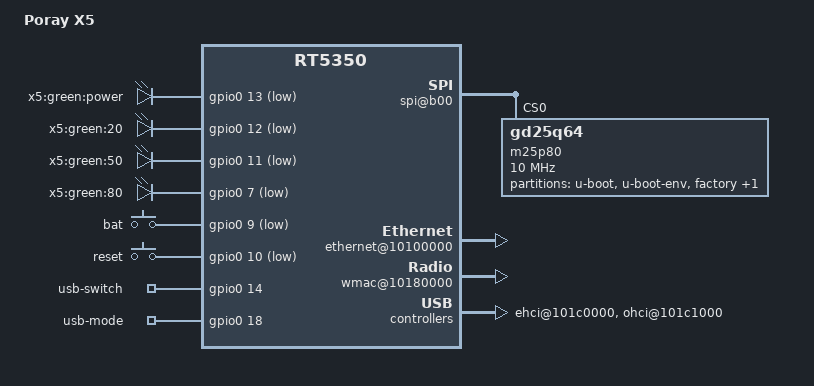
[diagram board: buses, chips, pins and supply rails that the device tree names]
//
// Device tree definition for Poray X5 and X6 routers.  
//
// This is free software, licensed under the GNU General Public License v2.
// See /LICENSE for more information.
//
// -- Luis Soltero <lsoltero@globalmarinenet.com>
// -- Michel Stempin <michel.stempin@wanadoo.fr> 
// -- Felix Kaechele <felix@fetzig.org>
//
//
// this files add support for the programmable switch on the side of the router labled 3G-DHCP
// 
//
// Notes on interfacing with the X5/X6 3G-DHCP switch
//
// there are two methods for interfacing with the 3G-DHCP/Switch. These are
// A. Button
// B. Polled
//
// To enable/disable the appropriate method search for COMMENT and comment/uncomppent the 
// appropriate definitions.  Note that both can not be enabled at the same time.  The switch
// can be defined as either a button or a exported GPIO but not both.
//
// A. Button Method
//
// the switch is defined as a button so events can be bound to it using hotplug.  The switch is bound to button BTN_0.
//
// GPIO /sys/class/gpio/usb-mode/value is used to map the X5 SD or USB port to the router.  When the ascii value '0' is
// writen to the gpio the router maps the internal TF/SD drive to the USB interface on the SoC.  When ascii value '1' is
// writen to the gpio the router maps the external USB port labled 3G-USB to the USB interfave on the SoC.
//
// To use the switch  you need to bind it to the BTN_0 button event in hotplug. Here is a /etc/config/system entry that will
// do that.
//
// config button
//        option button 'BTN_0'
//        option action 'released'
//        option handler 'echo 0 > /sys/class/gpio/usb-mode/value'
//
// config button
//        option button 'BTN_0'
//        option action 'pressed'
//        option handler 'echo 1 > /sys/class/gpio/usb-mode/value'
//
// this entry depends on hotplug and the 00-button script as defined here
// http://wiki.openwrt.org/doc/howto/hardware.button 
//
// FixMe:
// On boot up the system needs to probe the state of the switch to initialize the USB mode correctly. This can be done by
// parsing /sys/kernel/debug/gpio which returns
// GPIOs 0-23, 10000600.gpio:
// gpio-7   (x5:green:80         ) out hi
// gpio-9   (bat                 ) in  hi
// gpio-10  (reset               ) in  hi
// gpio-11  (x5:green:50         ) out hi
// gpio-12  (x5:green:20         ) out hi
// gpio-13  (x5:green:power      ) out lo
// gpio-14  (mode                ) in  lo
// gpio-18  (usb-mode            ) out lo
//
// gpio-14 has a value of lo (0) when the switch is set to DHCP and hi(1) when set to USB.
//
// B. Polled Method
//
// the switch state is exported as GPIO 14 with name "usb-switch".  It can be accessed using the following path
// /sys/class/gpio/usb-switch/value.  A value of 1 means that the switch is in 3G mode. A value of 0 means
// that DHCP is selected.  A script or program must be written which polls the state of the GPIO and then
// writes to GPIO 18 when the state changes.  Something like the following should work
//
// #!/bin/sh
// newstate=`cat /sys/class/gpio/usb-switch/value`
// curstate=""
// while [ 1 ] ; do
//    if [ "$currstate" -ne "$newstate" ]; then
//        $curstate=$newstate;
//        echo "$newstate" > /sys/class/gpio/usb-mode/value
//    fi;
//    sleep 2
//    newstate=`cat /sys/class/gpio/usb-switch/value`
// done
// 
// the script can be executed from /etc/init.d/

/dts-v1/;

/include/ "rt5350.dtsi"

/ {
	compatible = "X5", "ralink,rt5350-soc";
	model = "Poray X5";

	palmbus@10000000 {
		sysc@0 {
			ralink,pinmux = "i2c", "spi", "uartlite", "mdio", "sdram", "rgmii";
			ralink,gpiomux = "jtag";
			ralink,uartmux = "gpio";
			ralink,wdtmux = <1>;
		};

		gpio0: gpio@600 {
			status = "okay";
		};

		spi@b00 {
			status = "okay";
			m25p80@0 {
				#address-cells = <1>;
				#size-cells = <1>;
				compatible = "gd25q64";
				reg = <0 0>;
				linux,modalias = "m25p80", "gd25q64";
				spi-max-frequency = <10000000>;

		partition@0 {
			label = "u-boot";
			reg = <0x0 0x30000>;
			read-only;
		};

		partition@30000 {
			label = "u-boot-env";
			reg = <0x30000 0x10000>;
			read-only;
		};

		factory: partition@40000 {
			label = "factory";
			reg = <0x40000 0x10000>;
			read-only;
		};

		partition@50000 {
			label = "firmware";
			reg = <0x50000 0x7b0000>;
		};
			};
		};
	};

	ethernet@10100000 {
		status = "okay";
	};

	esw@10110000 {
		status = "okay";
		ralink,portmap = <0x2f>;
		ralink,led-polarity = <1>;
	};

	gpio-leds {
		compatible = "gpio-leds";
		power {
			label = "x5:green:power";
			gpios = <&gpio0 13 1>;
		};

		20 {
			label = "x5:green:20";
			gpios = <&gpio0 12 1>;
		};

		50 {
			label = "x5:green:50";
			gpios = <&gpio0 11 1>;
		};

		80 {
			label = "x5:green:80";
			gpios = <&gpio0 7 1>;
		};
	};

	gpio-keys-polled {
		compatible = "gpio-keys-polled";
		#address-cells = <1>;
		#size-cells = <0>;
		poll-interval = <20>;

		bat {
			label = "bat";
			gpios = <&gpio0 9 1>;
			linux,code = <0x211>;
		};

		reset {
			label = "reset";
			gpios = <&gpio0 10 1>;
			linux,code = <0x198>;
		};

//
// 3G-DHCP Switch BUTTON method
//
// Comment this out (thrugh END COMMENT) when using BUTTON Method
//		mode {
//			label = "mode";
//			gpios = <&gpio0 14 1>;
//			linux,code = <0x100>;
//		};
// END COMMENT
//
	};

        gpio_export {
                compatible = "gpio-export";
                #size-cells = <0>;

//
// 3G-DHCP Switch POLL Method
//
// Uncomment this out (through END COMMENT) when using the POLLED Method
                usb-switch {
                        gpio-export,name = "usb-switch";
                        gpio-export,input = <0>;
                        gpios = <&gpio0 14 0>;
                };
// END COMMENT
//

                usb-mode {
                        gpio-export,name = "usb-mode";
                        gpio-export,output = <0>;
                        gpios = <&gpio0 18 0>;
                };
        };

	wmac@10180000 {
		status = "okay";
		ralink,mtd-eeprom = <&factory 0>;
		ralink,led-polarity = <1>;
	};

	ehci@101c0000 {
		status = "okay";
	};

	ohci@101c1000 {
		status = "okay";
	};
};
